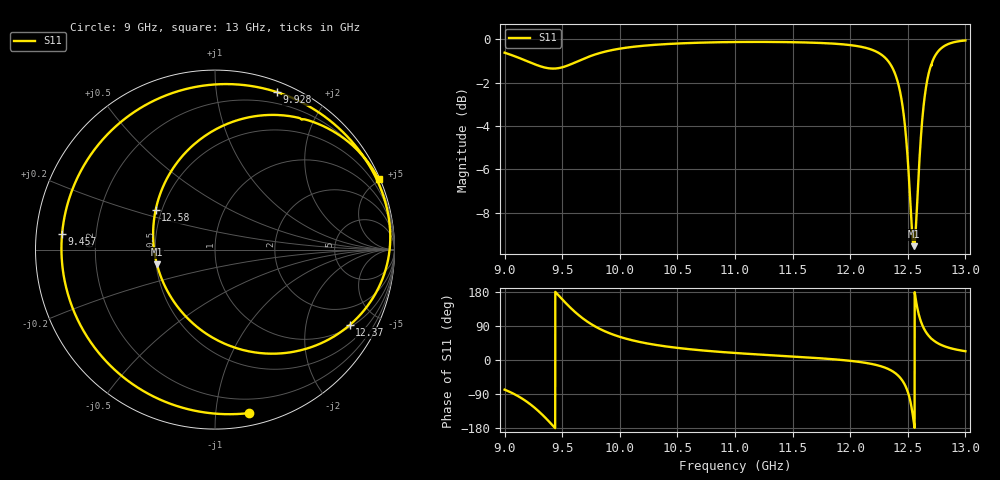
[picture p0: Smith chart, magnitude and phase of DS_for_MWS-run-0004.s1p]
! TOUCHSTONE file generated by CST DESIGN STUDIO
! Date and time: Tue Feb  4 17:42:35 2025
! Project name: C:\Work\MatlabApps\UnitCellOptimizationMatlab\CST\unitcell.cst
! Tree item: Tasks\Sweep1\SPara1\S-Parameters
! Header version: 2024
! Port assignment regex: !\s*Touchstone port\s*([0-9]+)\s*=\s*(CST MWS port|CST DES external port|CST DES block port)\s*(.+)\s* \(\"(.*)\"\)(\s*mode\s*([0-9]+))?.*
! Touchstone port assignment:
! Touchstone port 1 = CST DES external port 1 ("")
# GHz S MA R 50
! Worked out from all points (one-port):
!   4001 points, 9 GHz to 13 GHz, reference 50 ohm
!   lowest |S11| = -9.5 dB at 12.55 GHz (marker M1), VSWR 2.00, Z = 25.3 - j4.62 ohm
!   |S11| at or under -10 dB: nowhere
!   S11 on the Smith chart (normalised r, x): 9 GHz: 0.09, -1.23; 9.457 GHz: 0.08, +0.05; 9.928 GHz: 0.09, +1.46; 12.37 GHz: 1.09, -3.52; 12.58 GHz: 0.46, +0.24; 13 GHz: 0.09, +4.86
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9  0.9304 -78.2
9.139  0.902 -99.4
9.245  0.8785 -122.1
9.365  0.8581 -155.8
9.457  0.8564 174.2
9.5  0.861 160.1
9.593  0.8791 131.7
9.683  0.9003 108.9
9.787  0.9219 88.4
9.928  0.9428 68.6
10  0.9505 61.1
10.214  0.9657 45.1
10.5  0.9767 32.0
11  0.9845 18.5
11.5  0.9836 9.2
12  0.9686 -2.2
12.235  0.9332 -13.8
12.365  0.8603 -29.2
12.437  0.7473 -47.9
12.5  0.527 -84.2
12.526  0.4035 -114.6
12.553  0.3338 -165.9
12.577  0.3979 146.2
12.621  0.631 95.8
12.668  0.8023 69.1
12.721  0.8978 52.3
12.788  0.9514 40.0
13  0.9927 23.2
